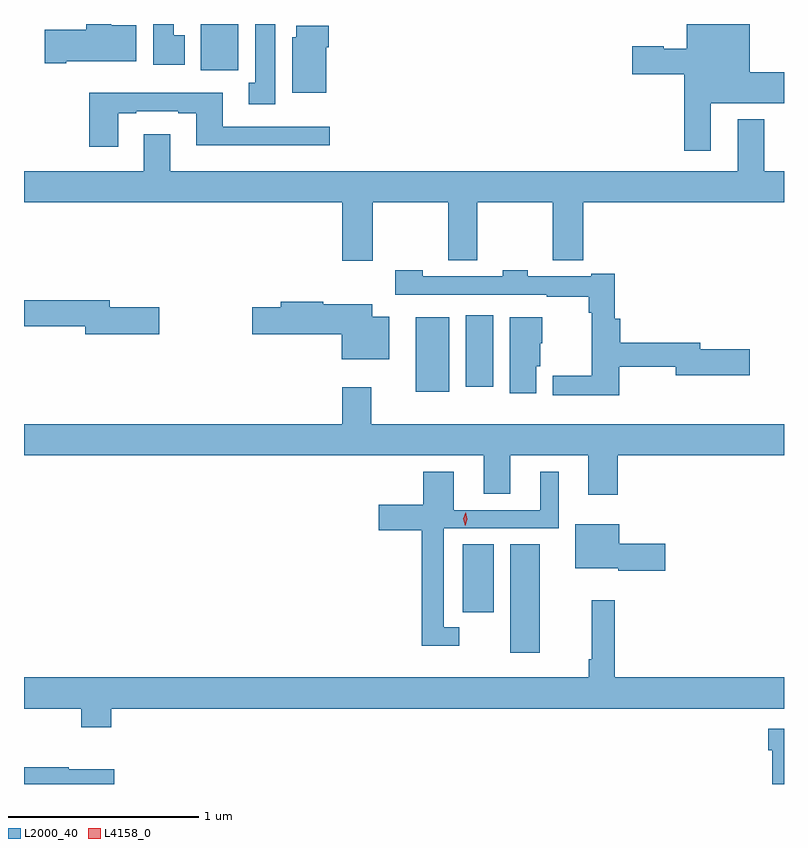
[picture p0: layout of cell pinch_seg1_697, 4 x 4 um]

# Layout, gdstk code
import gdstk
lib = gdstk.Library(unit=1e-6, precision=1e-09)
def R(c, l, rs):  # rectangles x0, y0, x1, y1
    for r in rs: c.add(gdstk.rectangle(r[:2], r[2:], *l))
def P(c, l, *ps):  # polygons
    for p in ps: c.add(gdstk.Polygon(p, *l))
L2000_40 = (2000, 40)
L4158_0 = (4158, 0)

pinch_seg1_697 = lib.new_cell('pinch_seg1_697')
R(pinch_seg1_697, L2000_40, [(733.016,576.003,733.171,576.572), (732.764,576.216,732.928,576.572), (732.518,577.376,732.694,577.768), (732.782,577.401,732.925,577.777), (731.387,579.068,731.584,579.31)])
P(pinch_seg1_697, L2000_40, [(734.071,578.894),(734.456,578.894),(734.456,579.058),(734.275,579.058),(734.275,579.311),(733.943,579.311),(733.943,579.181),(733.823,579.181),(733.823,579.194),(733.656,579.194),(733.656,579.047),(733.931,579.047),(733.931,578.643),(734.071,578.643)],
  [(731.779,579.311),(731.672,579.311),(731.672,579.002),(731.639,579.002),(731.639,578.889),(731.779,578.889)],
  [(731.302,579.252),(731.245,579.252),(731.245,579.311),(731.135,579.311),(731.135,579.096),(731.302,579.096)],
  [(730.678,579.116),(731.047,579.116),(731.047,579.304),(730.914,579.304),(730.914,579.31),(730.784,579.31),(730.784,579.282),(730.566,579.282),(730.566,579.104),(730.678,579.104)],
  [(732.046,579.188),(732.059,579.188),(732.059,579.301),(731.888,579.301),(731.888,579.24),(731.867,579.24),(731.867,578.948),(732.046,578.948)],
  [(730.951,578.841),(731.047,578.841),(731.047,578.853),(731.267,578.853),(731.267,578.841),(731.363,578.841),(731.363,578.672),(732.064,578.672),(732.064,578.769),(731.503,578.769),(731.503,578.95),(730.799,578.95),(730.799,578.664),(730.951,578.664)],
  [(732.291,578.372),(732.688,578.372),(732.688,578.068),(732.842,578.068),(732.842,578.372),(733.24,578.372),(733.24,578.068),(733.4,578.068),(733.4,578.372),(734.456,578.372),(734.456,578.536),(734.353,578.536),(734.353,578.809),(734.213,578.809),(734.213,578.536),(731.227,578.536),(731.227,578.731),(731.087,578.731),(731.087,578.536),(730.456,578.536),(730.456,578.372),(732.131,578.372),(732.131,578.064),(732.291,578.064)],
  [(733.59,577.506),(733.886,577.506),(733.886,577.463),(734.275,577.463),(734.275,577.598),(734.014,577.598),(734.014,577.634),(733.595,577.634),(733.595,577.759),(733.565,577.759),(733.565,577.996),(733.442,577.996),(733.442,577.983),(733.107,577.983),(733.107,578.016),(732.975,578.016),(732.975,577.983),(732.555,577.983),(732.555,578.016),(732.411,578.016),(732.411,577.887),(733.207,577.887),(733.207,577.875),(733.429,577.875),(733.429,577.79),(733.444,577.79),(733.444,577.46),(733.239,577.46),(733.239,577.358),(733.59,577.358)],
  [(731.167,577.82),(730.906,577.82),(730.906,577.856),(730.456,577.856),(730.456,577.72),(730.778,577.72),(730.778,577.678),(731.167,577.678)],
  [(732.379,577.771),(732.289,577.771),(732.289,577.837),(732.032,577.837),(732.032,577.85),(731.807,577.85),(731.807,577.82),(731.658,577.82),(731.658,577.678),(732.128,577.678),(732.128,577.547),(732.379,577.547)],
  [(733.153,577.509),(733.174,577.509),(733.174,577.632),(733.183,577.632),(733.183,577.768),(733.013,577.768),(733.013,577.368),(733.153,577.368)],
  [(733.58,577.04),(734.456,577.04),(734.456,577.204),(732.283,577.204),(732.283,577.399),(732.131,577.399),(732.131,577.204),(730.456,577.204),(730.456,577.04),(732.875,577.04),(732.875,576.838),(733.015,576.838),(733.015,577.04),(733.427,577.04),(733.427,576.834),(733.58,576.834)],
  [(732.748,576.135),(732.666,576.135),(732.666,576.657),(733.27,576.657),(733.27,576.955),(733.172,576.955),(733.172,576.753),(732.718,576.753),(732.718,576.955),(732.557,576.955),(732.557,576.781),(732.324,576.781),(732.324,576.647),(732.55,576.647),(732.55,576.038),(732.748,576.038)],
  [(733.831,576.576),(733.588,576.576),(733.588,576.679),(733.358,576.679),(733.358,576.446),(733.584,576.446),(733.584,576.434),(733.831,576.434)],
  [(730.916,575.708),(734.456,575.708),(734.456,575.872),(733.565,575.872),(733.565,576.277),(733.444,576.277),(733.444,575.968),(733.429,575.968),(733.429,575.872),(730.456,575.872),(730.456,575.708),(730.756,575.708),(730.756,575.609),(730.916,575.609)],
  [(734.456,575.602),(734.374,575.602),(734.374,575.489),(734.394,575.489),(734.394,575.311),(734.456,575.311)],
  [(730.931,575.388),(730.691,575.388),(730.691,575.398),(730.456,575.398),(730.456,575.311),(730.931,575.311)])
P(pinch_seg1_697, L4158_0, [(732.778,576.669),(732.778,576.669),(732.769,576.706),(732.781,576.741),(732.781,576.741),(732.781,576.741),(732.789,576.705),(732.778,576.669)])

lib.write_gds('pinch_seg1_697.gds')
